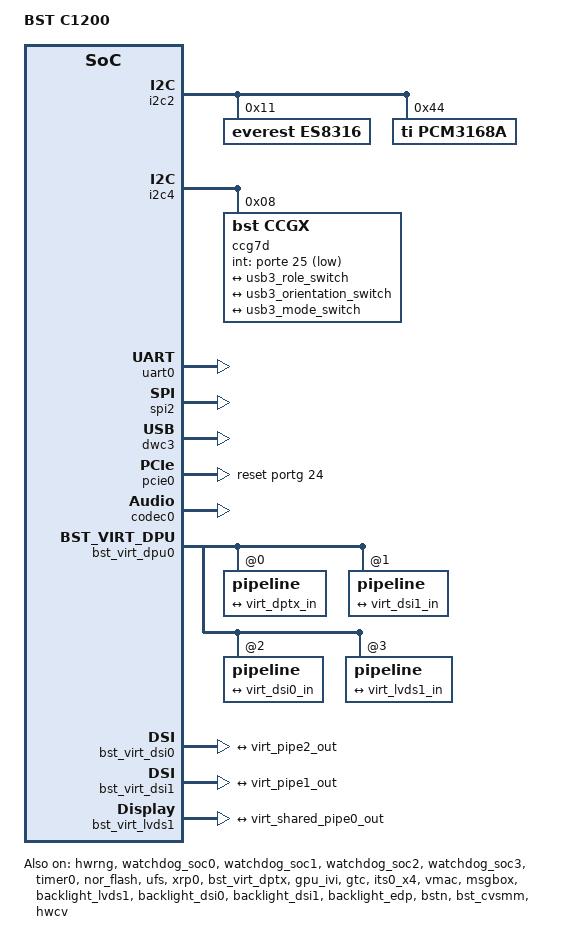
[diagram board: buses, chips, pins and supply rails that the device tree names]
// SPDX-License-Identifier: GPL-2.0+
/dts-v1/;
#include <generated/autoconf.h>
#include <dt-bindings/mailbox/bst_msgbox.h>
#include <dt-bindings/media/bst-isp.h>

#include "bstc1200.dtsi"

/ {
	compatible = "bst,c1200";
	model = "BST C1200";

	chosen {
		bootargs = "earlycon=uart8250,mmio32,0x20007000 console=ttyS0,115200n8 rdinit=/sbin/init root=/dev/ram rw init=/linuxrc rodata=n";
		stdout-path = "uart0";
	};

	/* This is used to push the total usable DDR to Normal Zone
	 * DON NOT USE IT !!!
	 */

	reserved-memory {
		#address-cells = <2>;
		#size-cells = <2>;
		ranges;

		its_table_reserved: its_table@806a10000 {
			reg = <0x8 0x06a10000 0x0 0x100000>;
		};

		bst_ufs_reserved: bst_ufs@800000000 {
			compatible = "shared-dma-pool";
			reg = <0x8 0x000000 0x0 0x20000>;
			no-map;
		};

		scmi_buf_reserved: scmi_buf@800152000 {
            compatible = "shared-dma-pool";
            reg = <0x8 0x152000 0x0 0x1000>;
            no-map;
        };


		reserved_for_normal_zone: reserved@1000000 {
			reg = <0x0 0x1000000 0x0 0x1000>;
			no-map;
		};

		bst_nor_flash_code_reserved: bst_nor_flash@800140000 {
			compatible = "shared-dma-pool";
			reg = <0x8 0x140000 0x0 0x10000>;
			no-map;
		};

		/* bst vpu private memory pool */
		bst_vpu_reserved: bst_vpu_reserved {
			compatible = "secure-dma-pool";
			align-shift = <8>;
			reg = <0xc 0x60000000 0x0 0x20000000>;
			reusable;
		};

		/* Reserved for exchange message between driver and firmware */
		isp_fw_msg_rsv: bst_isp_msg@821000000 {
			reg = <0x8 0x21000000 0x0 0x1000000>;
			/* Reserved IOVA for fixed map */
			iommu-addresses = <&isp 0x0 0x3E000000 0x0 0x42000000>;
			no-map;
		};

		/* Reserved exclusively for firmware */
		isp_fw_buf_rsv: bst_isp_buf@822000000 {
			reg = <0x8 0x22000000 0x0 0x15000000>;
			no-map;
		};

		bst_ipc_reserved: bst_ipc@800300000 {
			compatible = "shared-dma-pool";
			reg = <0x8 0x300000 0x0 0x400000>;
			no-map;
		};

		bst_sramxrp_reserved: bst_sramxrp0@806400000{
            compatible = "shared-dma-pool";
            reg = <0x8 0x6400000 0x0 0x80000>;
            no-map;
		};

		bst_touchscreen_reserved: bst_touchscreen@806690000 {
			compatible = "shared-dma-pool";
			reg = <0x8 0x06690000 0x0 0x40000>; //256k
			no-map;
		};	

		bst_vmac_reserved: bst_vmac_des@806c10000 {
			compatible = "shared-dma-pool";
			reg = <0x8 0x0cc00000 0x0 0x900000>; //9M
			no-map;
		};

		/*reserved for global secure dmabuf */
		global_dmabuf_secure_reserved: global_secure_dmabuf@850000000 {
			compatible = "shared-dma-pool";
			reg = <0x8 0x50000000 0x0 0x03000000
                   0xc 0x50000000 0x0 0x03000000
			>;
			no-map;
		};
		/*reserved for global normal dmabuf */
		global_dmabuf_normal_reserved: global_normal_dmabuf@837000000 {
			compatible = "shared-dma-pool";
			reg = <0x8 0x53000000 0x0 0x2d000000
				   0x8 0x37000000 0x0 0x19000000
				  >;
		};
		/*reserved for global hifi dmabuf */
		global_dmabuf_hifi_reserved: global_hifi_dmabuf@806480000 {
			compatible = "shared-dma-pool";
			reg = <0x8 0x06480000 0x0 0x00080000>;
			no-map;
		};
		bst_usb_virt_reserved: usb_virt@80e000000 {
			reg = <0x8 0x0e000000 0x0 0x1000000>;
			no-map;
		};
		bst_dpu_buf_reserved: bst_dpu_buf@806922000 {
			compatible = "shared-dma-pool";
			reg = <0x8 0x06922000 0x0 0x1000>;
			no-map;
		};
	
		bst_hwrng_buf_reserved: bst_hwrng_buf@806d40000 {
			compatible = "shared-dma-pool";
			reg = <0x8 0x06d31000 0x0 0x1000>;
		};

		bst_minidump_reserved: bst_minidump@db0000000 {
			compatible = "bst,minidump";
			reg = <0xd 0xb0000000 0x0 0xA00000>;
			no-map;
		};

		bst_mrdump_cb_reserved: bst_mrdump@db0a00000 {
			compatible = "bst,mrdump_cb";
			reg = <0xd 0xb0a00000 0x0 0x200000>;
			no-map;
		};
	};

/****************************************************************************************/
/*	c0_lockstep/c1_split	1 + 5: c0 0x0 + c0 0x100 \ c1 0x0 ~ 0x300
 *	c0_lockstep/c1_lockstep	1 + 3: c0 0x0 + c0 0x100 \ c1 0x0 ~ 0x100
 *	split			2 + 6: c0 0x0 ~ 0x100 + c0 0x200 ~ 0x300 \ c1 0x0 ~ 0x300
 *	split			4 + 4: c0 0x0 ~ 0x300 + c1 0x0 ~ 0x300
 */
/****************************************************************************************/
	psci {
		compatible	= "arm,psci-1.0";
		method		= "smc";
		cpu_on		= <0xC4000003>;
		cpu_off		= <0x84000002>;
		cpu_suspend	= <0xC4000001>;
	};

    es8316-sound {
        status = "okay";
        compatible = "simple-audio-card";
        simple-audio-card,format = "i2s";
        simple-audio-card,name = "everest,es8316-codec";
        simple-audio-card,mclk-fs = <256>;
        //simple-audio-card,bitclock-master = <&sndcodec>;
        //simple-audio-card,frame-master = <&sndcodec>;

        simple-audio-card,cpu {
            sound-dai = <&i2s0>;
        };

        sndcodec: simple-audio-card,codec {
            sound-dai = <&es8316>;
        };
    };


    pcm3168a-sound {
        status = "okay";
        compatible = "simple-audio-card";
        simple-audio-card,format = "i2s";
        simple-audio-card,name = "everest,pcm3168a-codec";
        simple-audio-card,mclk-fs = <256>;

        simple-audio-card,cpu {
            sound-dai = <&tdm2>;
        };

        simple-audio-card,codec {
            sound-dai = <&pcm3168a>;
        };
    };

    bst_adsp_i2s_codec0:adsp_i2s_codec0 {
        compatible = "linux,i2s-adsp-codec0";
        #sound-dai-cells = <0>;
        status = "disable";
    };

    bst_adsp_i2s_codec1:adsp_i2s_codec1 {
        compatible = "linux,i2s-adsp-codec1";
        #sound-dai-cells = <0>;
        status = "disable";
    };

    bst_adsp_tdm_codec0:adsp_tdm_codec0 {
        compatible = "linux,tdm-adsp-codec0";
        #sound-dai-cells = <0>;
        status = "disable";
        tx_slot_cnt = <8>;
        rx_slot_cnt = <6>;
    };

    bst_adsp_tdm_codec1:adsp_tdm_codec1 {
        compatible = "linux,tdm-adsp-codec1";
        #sound-dai-cells = <0>;
        status = "disable";
        tx_slot_cnt = <8>;
        rx_slot_cnt = <6>;
    };

    bst_rfkill_bt: rfkill_bt {
        status = "disable"; 
        compatible = "bst,rfkill_bt";
        type = "bluetooth";
        reset-gpios = <&porte 24 GPIO_ACTIVE_HIGH>;
    };

    adsp21569_sound0 {
        status = "okay";
        compatible = "simple-audio-card";
        simple-audio-card,format = "i2s";
        simple-audio-card,name = "everest,adsp21569-codec-tdm1";
        simple-audio-card,mclk-fs = <256>;

        simple-audio-card,cpu {
            sound-dai = <&tdm1>;
        };

        simple-audio-card,codec {
            sound-dai = <&bst_adsp_tdm_codec1>;
        };
    };

    adsp21569_sound1 {
        status = "okay";
        compatible = "simple-audio-card";
        simple-audio-card,format = "i2s";
        simple-audio-card,name = "everest,adsp21569-codec-i2s0";
        simple-audio-card,mclk-fs = <256>;

        simple-audio-card,cpu {
            sound-dai = <&i2s0>;
        };

        simple-audio-card,codec {
            sound-dai = <&bst_adsp_i2s_codec0>;
        };
    };

    adsp21569_sound2 {
        status = "okay";
        compatible = "simple-audio-card";
        simple-audio-card,format = "i2s";
        simple-audio-card,name = "everest,adsp21569-codec-i2s2";
        simple-audio-card,mclk-fs = <256>;

        simple-audio-card,cpu {
            sound-dai = <&i2s2>;
        };

        simple-audio-card,codec {
            sound-dai = <&bst_adsp_i2s_codec1>;
        };
    };

};

&firmware_scmi {

	shmem = <&scmi_buf_reserved>;
	reg = <0x0 0x20011000 0 0x14>;


	status = "okay";

	 scmi_pinctrl: protocol@19 {
		reg = <0x19>;
		#pinctrl-cells = <0>;

		isp_pinctrl:isp_pinctrl {
			mux {
				pins = "WK_GPIO33", "WK_GPIO34","WK_GPIO35","ISP_FSYNC0","ISP_FSYNC1","ISP_FSYNC2";
				function = "isp";
			};
		};
		deser_pinctrl: deser_pinctrl {
				deser_pdb_pins {
					/* Deser 0 PDB, Deser 1 PDB, Deser 2 PDB */
					pins = "WK_GPIO15", "WK_GPIO20", "WK_GPIO21";
					function = "gpio";
				};
				deser_status_pins {
					/* Deser 0 LOCK, ERR, Deser 1 LOCK, ERR, Deser 2 LOCK, ERR */
					pins = "SC_SDMMC0_WP", "SC_SDMMC1_STROBE", "SC_SDMMC1_CLK", "SC_SDMMC1_CMD", "SC_SDMMC1_DAT0", "SC_SDMMC1_DAT1";
					function = "gpio";
					bias-pull-up;
					input-enable;
				};
			};
        };
};

&hwrng {
	status = "okay";
	memory-region = <&bst_hwrng_buf_reserved>;
	msgbx-pid = <0x10>;
};

&i2c0 {
	status = "disable";
};

&i2c1 {
	status = "disable";
};

&i2c2 {
	status = "okay";
	es8316: es8316@11 {
		compatible = "everest,es8316";
		reg = <0x11>;
		#sound-dai-cells = <0>;
		es8316,analog-input-mux = <1>;
	};

	pcm3168a: pcm3168a-codec@44 {
		compatible = "ti,pcm3168a";
		reg = <0x44>;
		#sound-dai-cells = <0>;
	};
};

&i2c3 {
	status = "disable";
};

&i2c4 {
	status = "okay";

	ccg7d@8 {
		compatible = "bst,ccgx";
		reg = <0x08>;
		status = "okay";
		int-gpio = <&porte 25 GPIO_ACTIVE_LOW>;
		connector {
			compatible = "usb-c-connector";
			label = "USB-C";
			data-role = "dual";
			power-role = "source";
			//try-power-role = "sink";
			//source-pdos = <PDO_FIXED(5000, 2000, PDO_FIXED_USB_COMM)>;
			//sink-pdos = <PDO_FIXED(5000, 2000, PDO_FIXED_USB_COMM)
			//             PDO_VAR(5000, 12000, 2000)>;
			//op-sink-microwatt = <10000000>;
			ports {
				#address-cells = <1>;
				#size-cells = <0>;
				port@0 {
						reg = <0>;
						typec_usb_port: endpoint@0 {
								remote-endpoint = <&usb3_role_switch>;
						};
						typec_switch_port: endpoint@1 {
								remote-endpoint = <&usb3_orientation_switch>;
						};
						typec_mode_switch_port: endpoint@2 {
								remote-endpoint = <&usb3_mode_switch>;
						};
				};
			};
		};
	};
};

&i2c5 {
	status = "disable";
};

&i2c6 {
	status = "disable";
};

&i2c7 {
	status = "disable";
};

&i2cq0 {
	uid = <3>;
	ipc-sem = <3 0 12>;	// Master 3, bank 0, sem 12
	role = <ROLE_SLAVE>;
};
&i2cq1 {
	uid = <3>;
	ipc-sem = <3 0 12>;	// Master 3, bank 0, sem 12
	role = <ROLE_SLAVE>;
};
&i2cq2 {
	uid = <3>;
	ipc-sem = <3 0 12>;	// Master 3, bank 0, sem 12
	role = <ROLE_SLAVE>;
};
&csi0 {
	uid = <3>;
	ipc-sem = <3 0 13>;	// Master 3, bank 0, sem 13
};
&csi1 {
	uid = <3>;
	ipc-sem = <3 0 13>;	// Master 3, bank 0, sem 13
};
&csi2 {
	uid = <3>;
	ipc-sem = <3 0 13>;	// Master 3, bank 0, sem 13
};
&isp_bus {
	dma-ranges = <0x0 0x80000000 0xC 0x90000000 0x0 0x3E000000>,
		     <0x0 0x3E000000 0x0 0x3E000000 0x0 0x02000000>,	// Reserved to restrict IOVA area
		     <0x0 0x40000000 0x0 0x20000000 0x0 0x07000000>,	// Outer registers area
		     <0x0 0x47000000 0x0 0x30000000 0x0 0x01000000>,	// Outer registers area
		     <0x0 0x50000000 0x0 0x50000000 0x0 0x10000000>,	// ISPCV inner registers
		     <0x0 0x60000000 0x8 0x00200000 0x0 0x00600000>,	// IPC area, see bst_ipc_reserved, 2MB aligned
		     <0x0 0x60600000 0x8 0x21000000 0x0 0x16000000>;	// For isp_fw_msg_rsv, isp_fw_buf_rsv
};
&isp {
	uid = <3>;
	msgbox-cpu = <CPU_1 1 2>;
	ipc-cpu = <0>;		// ARM0
	ipc-sem = <3 0 14>;	// Master 3, bank 0, sem 14
	role = <ROLE_SLAVE>;
};

&uart0 {
	dmas = <&gdma0 55>,
			<&gdma0 54>;
	dma-names = "tx", "rx";
	status = "okay";
};
&uart1 {
	status = "disable";
};
&uart2 {
	status = "disable";
};
&uart3 {
	status = "disable";
};

&spi0 {
	status = "disable";
};
&spi1 {
	status = "disable";
};
&spi2 {
	status = "okay";
};
&spi3 {
	status = "disable";
};

&i2s0 {
	status = "disable";
};
&i2s1 {
	status = "disable";
};
&i2s2 {
	status = "disable";
};
&i2s3 {
	status = "disable";
};

&tdm0 {
	status = "disable";
};
&tdm1 {
	status = "disable";
};
&tdm2 {
	status = "disable";
};
&tdm3 {
	status = "disable";
};

&bst_adsp_i2s_codec0 {
    status = "disable";
};

&bst_adsp_i2s_codec1 {
    status = "disable";
};

&bst_adsp_tdm_codec0 {
    status = "disable";
};

&bst_adsp_tdm_codec1 {
    status = "disable";
};

&bst_rfkill_bt {
    status = "disable";
};

&watchdog0 {
	status = "disable";
};
&watchdog1 {
	status = "disable";
};
&watchdog2 {
	status = "disable";
};
&watchdog3 {
	status = "disable";
};
&watchdog_soc0 {
	status = "okay";
};
&watchdog_soc1 {
	status = "okay";
};
&watchdog_soc2 {
	status = "okay";
};
&watchdog_soc3 {
	status = "okay";
};

&watchdog_soc4 {
	status = "disable";
};
&watchdog_soc5 {
	status = "disable";
};
&watchdog_soc6 {
	status = "disable";
};
&watchdog_soc7 {
	status = "disable";
};
&watchdog_db0 {
	status = "disable";
};
&watchdog_db1 {
	status = "disable";
};
&watchdog_db2 {
	status = "disable";
};
&watchdog_db3 {
	status = "disable";
};

&lsp0_pwm0 {
	status = "disable";
};
&lsp1_pwm0 {
	status = "disable";
};

&gpio0 {
	status = "okay";
	pinctrl-names = "default";
	pinctrl-0 = <&isp_pinctrl &deser_pinctrl>;
};

&porta {
	interrupts = <GIC_SPI 218 (IRQ_TYPE_LEVEL_HIGH)>;
};

&gpio1 {
	status = "okay";
};

&portb {
	interrupts = <GIC_SPI 218 (IRQ_TYPE_LEVEL_HIGH)>;
};

&gpio2 {
	status = "okay";
};

&portc {
	interrupts = <GIC_SPI 218 (IRQ_TYPE_LEVEL_HIGH)>;
};

&gpio3 {
	status = "okay";
};

&portd {
	interrupts = <GIC_SPI 218 (IRQ_TYPE_LEVEL_HIGH)>;
};

&gpio4 {
	status = "okay";
	exclusive_gpio = <153>;
};

&porte {
	interrupts = <GIC_SPI 218 (IRQ_TYPE_LEVEL_HIGH)>;
};

&gpio5 {
	status = "okay";
};

&portf {
	interrupts = <GIC_SPI 218 (IRQ_TYPE_LEVEL_HIGH)>;
};
&gpio6 {
	status = "okay";
};

&portg {
	interrupts = <GIC_SPI 218 (IRQ_TYPE_LEVEL_HIGH)>;
};
&gpio7 {
	status = "okay";
};

&porth {
	interrupts = <GIC_SPI 218 (IRQ_TYPE_LEVEL_HIGH)>;
};

&gpiokeys {
	status = "disable";
	};

&gdma0 {
	status = "okay";
        dma-channels = <16>;
        snps,chan-start = <0>;
        snps,block-size = <1048576 1048576 1048576 1048576 1048576 1048576 1048576 1048576
                           1048576 1048576 1048576 1048576 1048576 1048576 1048576 1048576>;

        snps,priority = <15 14 13 12 11 10 9 8
                                 7 6 5 4 3 2 1 0>;
        interrupts =    <GIC_SPI 385 (GIC_CPU_MASK_SIMPLE(8) | IRQ_TYPE_LEVEL_HIGH)
                  GIC_SPI 386 (GIC_CPU_MASK_SIMPLE(8) | IRQ_TYPE_LEVEL_HIGH)
                  GIC_SPI 387 (GIC_CPU_MASK_SIMPLE(8) | IRQ_TYPE_LEVEL_HIGH)
                  GIC_SPI 388 (GIC_CPU_MASK_SIMPLE(8) | IRQ_TYPE_LEVEL_HIGH)
                  GIC_SPI 389 (GIC_CPU_MASK_SIMPLE(8) | IRQ_TYPE_LEVEL_HIGH)
                  GIC_SPI 390 (GIC_CPU_MASK_SIMPLE(8) | IRQ_TYPE_LEVEL_HIGH)
                  GIC_SPI 391 (GIC_CPU_MASK_SIMPLE(8) | IRQ_TYPE_LEVEL_HIGH)
                  GIC_SPI 392 (GIC_CPU_MASK_SIMPLE(8) | IRQ_TYPE_LEVEL_HIGH)
                  GIC_SPI 393 (GIC_CPU_MASK_SIMPLE(8) | IRQ_TYPE_LEVEL_HIGH)
                  GIC_SPI 394 (GIC_CPU_MASK_SIMPLE(8) | IRQ_TYPE_LEVEL_HIGH)
                  GIC_SPI 395 (GIC_CPU_MASK_SIMPLE(8) | IRQ_TYPE_LEVEL_HIGH)
                  GIC_SPI 396 (GIC_CPU_MASK_SIMPLE(8) | IRQ_TYPE_LEVEL_HIGH)
                  GIC_SPI 397 (GIC_CPU_MASK_SIMPLE(8) | IRQ_TYPE_LEVEL_HIGH)
                  GIC_SPI 398 (GIC_CPU_MASK_SIMPLE(8) | IRQ_TYPE_LEVEL_HIGH)
                  GIC_SPI 399 (GIC_CPU_MASK_SIMPLE(8) | IRQ_TYPE_LEVEL_HIGH)
                  GIC_SPI 400 (GIC_CPU_MASK_SIMPLE(8) | IRQ_TYPE_LEVEL_HIGH)>;

};

&swdma0 {
	status = "disable";
};

&usb2_phy {
	orientation-switch;
	mode_switch;
	port {
		usb3_orientation_switch: endpoint@0 {
			//remote-endpoint = <&typec_switch_port>;
		};
		usb3_mode_switch: endpoint@1 {
			//remote-endpoint = <&typec_mode_switch_port>;
		};
	};
};

&usbdwc3 {
	//iommus = <&mmu600_soc 1>;
};

&usbdrd_dwc3 {
	status = "disable";
};

&bst_usb_msg{
	msgbox-pid = "CPU_0";
};

&usbdwc2 {
	iommus = <&mmu600_soc 2>;
	port {
		usb3_role_switch: endpoint {
			//remote-endpoint = <&typec_usb_port>;
		};
	};
};

&dwc3 {
	status = "okay";
};


&timer0 {
    interrupts = <GIC_SPI 218 IRQ_TYPE_LEVEL_HIGH>; 
	timer-chan = <0x0>;
    status = "okay";	                   
};

&timer1 {
	status = "disable";
};


&mmc0 {
	status = "disable";
};
&mmc1 {
	status = "disable";
};

&nor_flash {
	memory-region = <&bst_nor_flash_code_reserved>;
	status = "okay";
};


&mmu600_pcie {
	status = "okay";
};
&mmu600_codec {
	status = "disable";
};
&mmu600_soc {
	status = "okay";
};
#if defined(CONFIG_VIDEO_BST_ISP_MULTI_OS)
&mmu600_coreip {
	status = "okay";
};
#endif

&ufs {
	reg = <0x0 0x23005f00 0 0x100>,
		  <0x0 0x20011000 0 0x1000>;
    interrupts = <GIC_SPI 184 IRQ_TYPE_LEVEL_HIGH
					GIC_SPI 218 IRQ_TYPE_LEVEL_HIGH>; 
	ufs-timer = <0x0>;
	status = "okay";
};

&pcie_phy {
	dmc-lane = <0x1>; /* bit0: 1=2x2ports, 0=1x4ports */
	dmc-mode = <0x3>; /* (bit1 for ctl0)/(bit0 for ctl1):1=RC-mode, 0=EP-mode */
	pcie-ctl0 = <1>;  /* Controller reset */
	pcie-ctl1 = <1>;  /* Controller reset */
	pcie-ref-clk0 = <1>; /* 0=onchip_clk, 1=pad_clk*/
	pcie-ref-clk1 = <1>; /* 0=onchip_clk, 1=pad_clk, 2=repeat_clk */
};

&pcie0 {
	status = "okay";
	reset-gpio = <&portg 24 GPIO_ACTIVE_HIGH>;
	reset-gpio-active-high;
	pre-init;
	iommus = <&mmu600_pcie 0x0>;
	iommu-map = <0x0  &mmu600_pcie 0x00 0x1000>;
};

&codec0 {
	status = "okay";
};
&codec1 {
	status = "disable";
};

&mipi_dsi0 {
	status = "disable";
};
&mipi_dsi1 {
	status = "disable";
};
&mipi_csr {
	status = "disable";
};

&bst_dptx {
	status = "disable";
};

&dp_panel {
	status = "disable";
};

&xrp0 {
	status = "okay";
	memory-region = <&bst_sramxrp_reserved>;	
};

&bst_dpu0 {
	status = "disable";
};
&bst_dpu2 {
	status = "disable";
};
&bst_dpu1 {
	status = "disable";
};

&lvds_conn {
	status = "disable";
};

&bst_disp_fw_msgbx {
	status = "disable";
	msgbx-pid = "CPU_0"; /* "CPU_0" - "CPU_3" */
};

&bst_disp_fw_ipc {
	status = "okay";
	memory-region = <&bst_dpu_buf_reserved>;
	ipc-pid = "ARM0";
};

&bst_virt_dpu0 {
	status = "okay";
	os-type = "IVI";
	pipeline@0 {
		status = "okay";
		layer-num = <1>;
		port@0 {
			virt_pipe0_out: endpoint@0 {
				remote-endpoint = <&virt_dptx_in>;
			};
		};
	};
	pipeline@1 {
		status = "okay";
		layer-num = <1>;
		port@0 {
			virt_pipe1_out: endpoint@0 {
				remote-endpoint = <&virt_dsi1_in>;
			};
		};
	};
	pipeline@2 {
		status = "okay";
		layer-num = <1>;
		port@0 {
			reg = <0>;
			virt_pipe2_out: endpoint@0 {
				remote-endpoint = <&virt_dsi0_in>;
			};
		};
	};
	pipeline@3 {
		status = "okay";
		layer-num = <1>;
		port@0 {
			reg = <0>;
			virt_shared_pipe0_out: endpoint@0 {
				remote-endpoint = <&virt_lvds1_in>;
			};
		};
	};
};

&bst_virt_dptx {
	status = "okay";
	backlight = <&backlight_edp>;
	ports {
		port@0 {
			virt_dptx_in: endpoint@0 {
				remote-endpoint = <&virt_pipe0_out>;
			};
		};
	};
};

&bst_virt_dsi0 {
	status = "okay";
	backlight = <&backlight_dsi0>;
	ports {
		port@0 {
			virt_dsi0_in: endpoint@0 {
				remote-endpoint = <&virt_pipe2_out>;
			};
		};
	};
};

&bst_virt_dsi1 {
	status = "okay";
	backlight = <&backlight_dsi1>;
	ports {
		port@0 {
			virt_dsi1_in: endpoint@0 {
				remote-endpoint = <&virt_pipe1_out>;
			};
		};
	};
};

&bst_virt_lvds1 {
	status = "okay";
	backlight = <&backlight_lvds1>;
	ports {
		port@0 {
			virt_lvds1_in: endpoint@0 {
				remote-endpoint = <&virt_shared_pipe0_out>;
			};
		};
	};
};

&gpu_ivi {
	status = "okay";
};

&gpu_adas {
	status = "disable";
};

&gpu_db {
	status = "disable";
};

&pinctrl {
	status = "disable";
};

&clkc {
	status = "disable";
};

&gtc {
	status = "okay";
};

&xgmac0 {
	status = "disable";
};

&gic600 {
	status = "okay";
	};

&its0_x4 {
	status = "okay";
	memory-region = <&its_table_reserved>;
};

&vmac {
	status = "okay";
	interrupt-parent = <&gic600>;
	interrupts = <GIC_SPI 480 IRQ_TYPE_LEVEL_HIGH>,
			   <GIC_SPI 481 IRQ_TYPE_LEVEL_HIGH>,
			   <GIC_SPI 482 IRQ_TYPE_LEVEL_HIGH>,
			   <GIC_SPI 483 IRQ_TYPE_LEVEL_HIGH>,
			   <GIC_SPI 484 IRQ_TYPE_LEVEL_HIGH>,
			   <GIC_SPI 485 IRQ_TYPE_LEVEL_HIGH>,
			   <GIC_SPI 486 IRQ_TYPE_LEVEL_HIGH>,
			   <GIC_SPI 487 IRQ_TYPE_LEVEL_HIGH>;
	interrupt-names = "vmac_irq0", "vmac_irq1", "vmac_irq2", "vmac_irq3",
		"vmac_irq4", "vmac_irq5", "vmac_irq6", "vmac_irq7";
	//mac-address = [52AECD28264B];
	channel-bit = <0x00000000 0x00010000>;
	max-frame-size = <3800>;
	tx-queues-to-use = <1>;
	rx-queues-to-use = <1>;
	memory-region = <&bst_vmac_reserved>;
};


&ipc {
	status = "okay";
	memory-region = <&bst_ipc_reserved>;
};

&mbox {
	status = "okay";
	ipc-cpus = <0>;
	memory-region = <&bst_ipc_reserved>;
};



&msgbox {
	status = "okay";
	spi-irq-num = <4>;
	filter-num = <8>;
	// id = <0x0>;
	// end0 and end1 spi irq
	interrupts =    <
			GIC_PPI 2 (GIC_CPU_MASK_SIMPLE(8) | IRQ_TYPE_LEVEL_LOW)
			GIC_PPI 3 (GIC_CPU_MASK_SIMPLE(8) | IRQ_TYPE_LEVEL_LOW)
			GIC_PPI 4 (GIC_CPU_MASK_SIMPLE(8) | IRQ_TYPE_LEVEL_LOW)
			GIC_PPI 15 (GIC_CPU_MASK_SIMPLE(8) | IRQ_TYPE_LEVEL_LOW)
			GIC_SPI 544 (IRQ_TYPE_LEVEL_HIGH)
			GIC_SPI 545 (IRQ_TYPE_LEVEL_HIGH)
			GIC_SPI 546 (IRQ_TYPE_LEVEL_HIGH)
			GIC_SPI 547 (IRQ_TYPE_LEVEL_HIGH)
			GIC_SPI 548 (IRQ_TYPE_LEVEL_HIGH)
			GIC_SPI 549 (IRQ_TYPE_LEVEL_HIGH)
			GIC_SPI 550 (IRQ_TYPE_LEVEL_HIGH)
			GIC_SPI 551 (IRQ_TYPE_LEVEL_HIGH)
			GIC_SPI 552 (IRQ_TYPE_LEVEL_HIGH)
			GIC_SPI 553 (IRQ_TYPE_LEVEL_HIGH)
			GIC_SPI 554 (IRQ_TYPE_LEVEL_HIGH)
			GIC_SPI 555 (IRQ_TYPE_LEVEL_HIGH)
			GIC_SPI 556 (IRQ_TYPE_LEVEL_HIGH)
			GIC_SPI 557 (IRQ_TYPE_LEVEL_HIGH)
			GIC_SPI 558 (IRQ_TYPE_LEVEL_HIGH)
			GIC_SPI 559 (IRQ_TYPE_LEVEL_HIGH)
			>;
	#mbox-cells = <0x1>;
};

&arm_pmu {
	status = "disable";
};

&gmac0 {
	status = "disable";
	phy-handle = <&eth_phy1>;
	extend-op = <20>;
	phy-mode = "sgmii";
	mac-mode = "gmii";
	mdio {
		compatible = "snps,dwmac-mdio";
		#address-cells = <1>;
		#size-cells = <0>;
		status = "okay";		
		eth_phy1: eth_phy1@1 {
			compatible = "marvell,88E1510", "ethernet-phy-id0141.0DD1", "ethernet-phy-ieee802.3-c22";
			device_type = "ethernet-phy";
			max-speed = <1000>;
			reg = <0x1>;
			reset-active-low;
			reset-gpios = <&porte 16 1>; //gpio 144
			reset-assert-us = <20000>;
			reset-deassert-us = <20000>;
		};
		
	};
};

&virtouch {
	status = "disable";
	memory-region = <&bst_touchscreen_reserved>;
	/*
	 * client-id:
	 * 0x41444153: "ADAS"
	 * 0x49564920: "IVI "
	 * 0x44422020: "DB  "
	 */
	client-id = <0x49564920>; //as same as display client id
	/*
	 * screens-id:
	 * 0x9: screen_lvds0  adas
	 * 0xa: screen_lvds1  adas/ivi/db
	 * 0x7: screen_dsi0  ivi
	 * 0x8: screen_dsi1  ivi
	 * 0x6: screen_edp   adas/ivi
	 */
	screens-id = <0xa>, <0x7>,  <0x8>, <0x6>;
};

&backlight_lvds1 {
	client-id = <0x49564920>;
	status = "okay";
};
&backlight_dsi0 {
	client-id = <0x49564920>;
	status = "okay";
};
&backlight_dsi1 {
	client-id = <0x49564920>;
	status = "okay";
};
&backlight_edp {
	client-id = <0x49564920>;
	status = "okay";
};

&mmu600_coreip {
	status = "okay";
};

&bstn_bus {
       /*           cpu va          net va         size          */
       dma-ranges = <0x0 0x80000000 0x0 0x80000000 0x0 0x40000000>; /* ivi msg */
};

&bstn {
       status = "okay";
       iommus = <&mmu600_coreip 1>,<&mmu600_coreip 4>;
       msgbox-endid = <0x11>;
       //dma-coherent;
};

&cv_bus {
	dma-ranges = <0x0 0x80000000 0xc 0x90000000 0x0 0x40000000>;
};

&bst_cvsmm {
	status = "okay";
	iommus = <&mmu600_coreip 2>;
};

&hwcv {
	status = "okay";
	use-cvsmm;
	ipc-sem = <3 0 8>; //<master_id bank_id msg_id>
};
